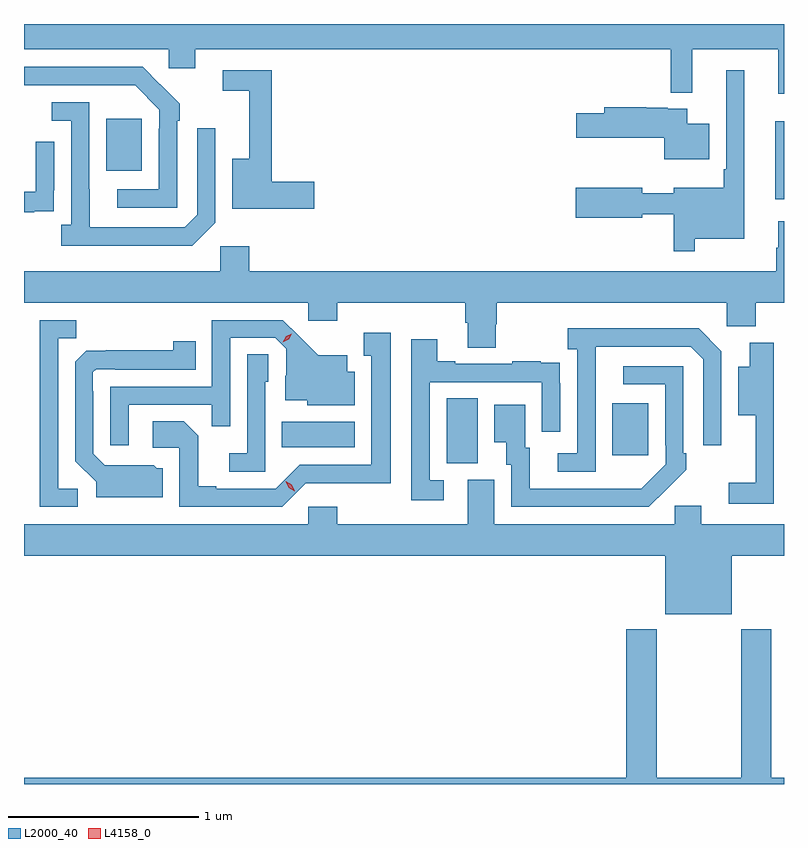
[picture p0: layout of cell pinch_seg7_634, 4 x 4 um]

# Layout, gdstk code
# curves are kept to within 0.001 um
import gdstk
lib = gdstk.Library(unit=1e-6, precision=1e-09)
def R(c, l, rs):  # rectangles x0, y0, x1, y1
    for r in rs: c.add(gdstk.rectangle(r[:2], r[2:], *l))
def P(c, l, *ps):  # polygons
    for p in ps: c.add(gdstk.Polygon(p, *l))
L2000_40 = (2000, 40)
L4158_0 = (4158, 0)

pinch_seg7_634 = lib.new_cell('pinch_seg7_634')
R(pinch_seg7_634, L2000_40, [(137.792,1009.093,137.956,1009.436), (138.665,1009.137,138.853,1009.411), (136.924,1009.178,137.308,1009.312), (139.523,1010.483,139.568,1010.893), (136.001,1010.633,136.189,1010.908)])
P(pinch_seg7_634, L2000_40, [(139.568,1011.406),(135.568,1011.406),(135.568,1011.272),(136.329,1011.272),(136.329,1011.174),(136.468,1011.174),(136.468,1011.272),(138.971,1011.272),(138.971,1011.044),(139.085,1011.044),(139.085,1011.272),(139.538,1011.272),(139.538,1011.039),(139.568,1011.039)],
  [(136.374,1010.897),(136.389,1010.897),(136.389,1010.985),(136.192,1011.18),(135.568,1011.18),(135.568,1011.084),(136.153,1011.084),(136.281,1010.955),(136.281,1010.855),(136.278,1010.855),(136.278,1010.535),(136.059,1010.535),(136.059,1010.439),(136.374,1010.439)],
  [(139.099,1010.276),(139.36,1010.276),(139.36,1011.163),(139.263,1011.163),(139.263,1010.641),(139.251,1010.641),(139.251,1010.545),(138.989,1010.545),(138.989,1010.515),(138.823,1010.515),(138.823,1010.545),(138.471,1010.545),(138.471,1010.387),(138.823,1010.387),(138.823,1010.406),(138.989,1010.406),(138.989,1010.211),(139.099,1010.211)],
  [(137.095,1010.576),(136.871,1010.576),(136.871,1011.162),(136.614,1011.162),(136.614,1011.054),(136.754,1011.054),(136.754,1010.698),(136.664,1010.698),(136.664,1010.434),(137.095,1010.434)],
  [(136.575,1010.361),(136.575,1010.857),(136.479,1010.857),(136.479,1010.403),(136.413,1010.337),(135.913,1010.337),(135.912,1010.994),(135.714,1010.994),(135.714,1010.898),(135.816,1010.898),(135.816,1010.35),(135.765,1010.35),(135.765,1010.24),(136.454,1010.24)],
  [(139.174,1010.881),(139.06,1010.881),(139.06,1010.959),(138.956,1010.959),(138.956,1010.964),(138.842,1010.964),(138.842,1010.967),(138.623,1010.967),(138.623,1010.937),(138.474,1010.937),(138.474,1010.807),(138.938,1010.807),(138.938,1010.693),(139.174,1010.693)],
  [(135.623,1010.421),(135.725,1010.421),(135.725,1010.53),(135.726,1010.53),(135.726,1010.785),(135.63,1010.785),(135.63,1010.523),(135.568,1010.523),(135.568,1010.415),(135.623,1010.415)],
  [(138.051,1009.827),(138.056,1009.827),(138.056,1009.94),(139.266,1009.94),(139.266,1009.814),(139.418,1009.814),(139.418,1009.94),(139.568,1009.94),(139.568,1010.368),(139.538,1010.368),(139.538,1010.228),(139.527,1010.228),(139.527,1010.104),(136.754,1010.104),(136.754,1010.236),(136.602,1010.236),(136.602,1010.104),(135.568,1010.104),(135.568,1009.94),(137.064,1009.94),(137.064,1009.845),(137.216,1009.845),(137.216,1009.94),(137.891,1009.94),(137.891,1009.834),(137.903,1009.834),(137.903,1009.702),(138.051,1009.702)],
  [(136.119,1009.401),(136.555,1009.401),(136.555,1009.288),(136.653,1009.288),(136.653,1009.755),(136.89,1009.755),(136.947,1009.698),(136.947,1009.556),(136.943,1009.556),(136.943,1009.427),(137.058,1009.427),(137.058,1009.4),(137.308,1009.4),(137.308,1009.576),(137.269,1009.576),(137.269,1009.663),(137.117,1009.663),(136.93,1009.848),(136.557,1009.848),(136.557,1009.497),(136.023,1009.497),(136.023,1009.188),(136.119,1009.188)],
  [(135.85,1008.96),(135.747,1008.96),(135.747,1009.753),(135.843,1009.753),(135.843,1009.848),(135.651,1009.848),(135.651,1008.864),(135.85,1008.864)],
  [(138.576,1009.507),(138.577,1009.707),(139.077,1009.707),(139.143,1009.641),(139.143,1009.188),(139.239,1009.188),(139.239,1009.683),(139.118,1009.804),(138.429,1009.804),(138.429,1009.694),(138.48,1009.694),(138.48,1009.146),(138.378,1009.146),(138.378,1009.05),(138.576,1009.05)],
  [(137.052,1008.99),(137.497,1008.989),(137.497,1009.78),(137.357,1009.78),(137.357,1009.659),(137.396,1009.659),(137.396,1009.086),(137.019,1009.086),(136.893,1008.96),(136.579,1008.96),(136.579,1008.973),(136.485,1008.973),(136.485,1009.24),(136.409,1009.316),(136.245,1009.316),(136.245,1009.176),(136.386,1009.176),(136.386,1008.864),(136.926,1008.864)],
  [(137.776,1009.005),(137.703,1009.005),(137.703,1009.521),(138.294,1009.521),(138.294,1009.26),(138.39,1009.26),(138.39,1009.514),(138.389,1009.514),(138.389,1009.623),(138.287,1009.623),(138.287,1009.63),(138.139,1009.63),(138.139,1009.617),(137.839,1009.617),(137.839,1009.63),(137.743,1009.63),(137.743,1009.747),(137.607,1009.747),(137.607,1008.9),(137.776,1008.9)],
  [(136.297,1009.068),(136.266,1009.068),(136.25,1009.084),(135.993,1009.083),(135.933,1009.143),(135.933,1009.472),(135.93,1009.472),(135.93,1009.572),(135.948,1009.59),(136.048,1009.59),(136.048,1009.587),(136.472,1009.587),(136.472,1009.735),(136.354,1009.735),(136.354,1009.688),(135.896,1009.687),(135.837,1009.628),(135.837,1009.106),(135.947,1008.996),(135.947,1008.914),(136.297,1008.914)],
  [(139.515,1009.729),(139.388,1009.729),(139.388,1009.603),(139.328,1009.603),(139.328,1009.346),(139.418,1009.346),(139.418,1008.991),(139.278,1008.991),(139.278,1008.882),(139.515,1008.882)],
  [(136.839,1009.524),(136.854,1009.524),(136.854,1009.667),(136.743,1009.667),(136.743,1009.147),(136.647,1009.147),(136.647,1009.05),(136.839,1009.05)],
  [(138.947,1008.955),(138.948,1008.954),(139.053,1009.059),(139.053,1009.147),(139.038,1009.147),(139.038,1009.605),(138.723,1009.605),(138.723,1009.509),(138.942,1009.509),(138.942,1009.189),(138.945,1009.189),(138.945,1009.089),(138.817,1008.961),(138.229,1008.96),(138.229,1009.176),(138.205,1009.176),(138.205,1009.402),(138.044,1009.402),(138.044,1009.205),(138.107,1009.205),(138.107,1009.086),(138.132,1009.086),(138.132,1008.864),(138.856,1008.864)],
  [(139.294,1008.608),(139.568,1008.608),(139.568,1008.772),(139.132,1008.772),(139.132,1008.87),(138.993,1008.87),(138.993,1008.772),(138.043,1008.772),(138.043,1009.008),(137.903,1009.008),(137.903,1008.772),(137.216,1008.772),(137.216,1008.865),(137.064,1008.865),(137.064,1008.772),(135.568,1008.772),(135.568,1008.608),(138.944,1008.608),(138.944,1008.299),(139.294,1008.299)],
  [(139.568,1007.44),(139.502,1007.44),(139.502,1008.22),(139.342,1008.22),(139.342,1007.44),(138.897,1007.44),(138.897,1008.22),(138.737,1008.22),(138.737,1007.44),(135.568,1007.44),(135.568,1007.406),(139.568,1007.406)])
P(pinch_seg7_634, L4158_0, [(136.994,1008.947),(136.962,1008.966),(136.945,1008.999),(136.945,1008.999),(136.946,1008.999),(136.977,1008.98),(136.994,1008.947),(136.994,1008.947)],
  [(136.93,1009.732),(136.93,1009.732),(136.947,1009.762),(136.978,1009.777),(136.978,1009.777),(136.978,1009.776),(136.961,1009.747),(136.93,1009.732)])

lib.write_gds('pinch_seg7_634.gds')
